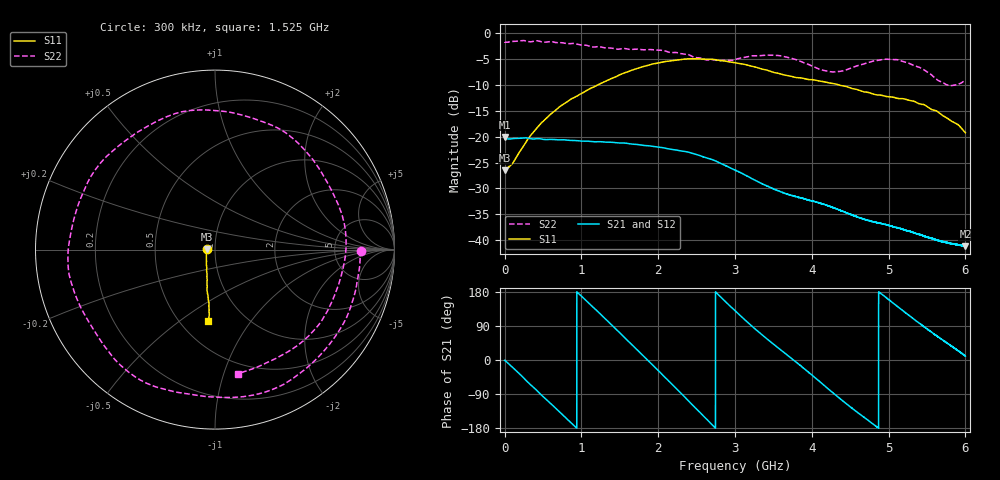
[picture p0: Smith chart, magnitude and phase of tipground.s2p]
!  8/6/2020  01:53:00
! Ref Plane: 0.000 mm
# MHZ S MA R  50
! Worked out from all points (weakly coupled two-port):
!   10001 points, 300 kHz to 6 GHz, reference 50 ohm
!   highest |S21| = -20.10 dB at 300 kHz (marker M1); lowest = -41.1 dB at 6 GHz (marker M2)
!   lowest |S11| = -26.5 dB at 300 kHz (marker M3), VSWR 1.10, Z = 45.5 + j0.0878 ohm
!   |S11| at or under -10 dB: start of sweep to 1.219 GHz; 4.341 GHz to end of sweep
!   |S22| runs from -10.2 to -1.5 dB; largest |S21 - S12| = 0.0023
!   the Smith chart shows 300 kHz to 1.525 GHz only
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0.3  0.04716 178.8  0.09884 -1.0  0.09659 -0.8  0.8155 -0.4
293.0854  0.09184 -121.6  0.09681 -56.6  0.097 -56.7  0.828 -84.2
597.2702  0.1638 -105.8  0.09396 -114.1  0.09415 -114.1  0.8245 -171.0
825.2588  0.2188 -101.7  0.09209 -158.1  0.09228 -158.2  0.7838 123.9
1000.45  0.2598 -98.6  0.09037 168.6  0.09044 168.6  0.762 74.8
1256.037  0.3266 -95.8  0.08911 119.5  0.08921 119.5  0.7295 -0.1
1542.823  0.4059 -95.3  0.08662 63.3  0.08678 63.2  0.7037 -84.7
1786.411  0.4687 -97.0  0.08265 14.8  0.08289 14.8  0.6879 -152.2
2000.6  0.5109 -99.5  0.07912 -27.8  0.07927 -27.8  0.6806 151.3
2254.987  0.5465 -103.2  0.07365 -79.3  0.07404 -79.3  0.6411 85.1
2536.373  0.5607 -107.4  0.06586 -136.8  0.0659 -136.9  0.5732 6.8
2781.761  0.5439 -110.8  0.05655 172.6  0.05658 172.8  0.5392 -67.8
3000.15  0.5146 -112.2  0.04753 130.3  0.04749 130.3  0.5519 -134.1
3229.939  0.4733 -113.9  0.039 87.3  0.03898 87.4  0.5992 163.9
3511.324  0.4138 -111.7  0.03101 40.1  0.03098 40.1  0.6079 95.1
4000.3  0.3534 -102.7  0.024 -39.5  0.02393 -39.3  0.4789 -30.1
4220.489  0.3294 -100.0  0.02145 -77.4  0.0214 -77.3  0.4245 -100.7
4483.876  0.2974 -96.8  0.01802 -120.9  0.01808 -120.8  0.4488 173.5
4756.262  0.2637 -91.6  0.01538 -162.7  0.01542 -162.5  0.5237 100.6
5000.45  0.2418 -86.4  0.01395 159.4  0.01393 159.6  0.5547 44.2
5504.425  0.1941 -81.8  0.01074 81.4  0.01073 81.6  0.4198 -74.5
6000  0.1091 -74.9  0.008789 10.4  0.008824 10.6  0.3494 115.5
